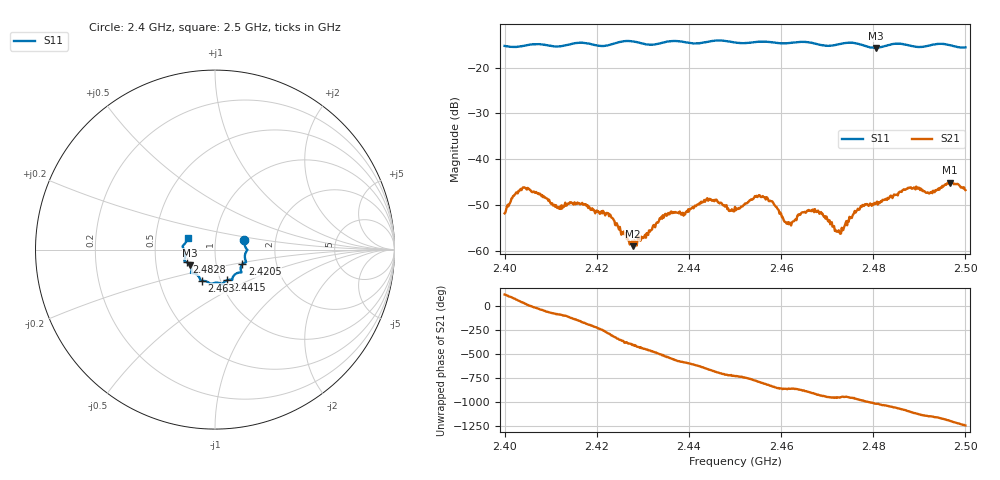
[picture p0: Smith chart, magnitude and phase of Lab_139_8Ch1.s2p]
# Hz S RI R 50
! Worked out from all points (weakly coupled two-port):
!   601 points, 2.4 GHz to 2.5 GHz, reference 50 ohm
!   highest |S21| = -45.06 dB at 2.4967 GHz (marker M1); lowest = -58.9 dB at 2.4278 GHz (marker M2)
!   lowest |S11| = -15.7 dB at 2.4805 GHz (marker M3), VSWR 1.39, Z = 37.3 - j6.7 ohm
!   |S11| at or under -10 dB: start of sweep to end of sweep
!   S12 and S22 are empty: the file has one direction only
!   S11 on the Smith chart (normalised r, x): 2.4 GHz: 1.38, +0.15; 2.4205 GHz: 1.34, -0.23; 2.4415 GHz: 1.07, -0.38; 2.463 GHz: 0.82, -0.29; 2.4828 GHz: 0.72, -0.10; 2.5 GHz: 0.73, +0.10
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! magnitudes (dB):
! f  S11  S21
! 2.4 GHz  -15.3  -51.8
! 2.404 GHz  -15.3  -46.1
! 2.4117 GHz  -15.4  -50.4
! 2.4167 GHz  -14.6  -49.7
! 2.4205 GHz  -15.3  -51.6
! 2.4227 GHz  -15.1  -52.4
! 2.4278 GHz  -14.3  -58.9
! 2.4333 GHz  -14.8  -53.8
! 2.4415 GHz  -14.8  -50.2
! 2.4443 GHz  -14.3  -48.8
! 2.45 GHz  -14.5  -50.4
! 2.4557 GHz  -14.3  -48.2
! 2.4612 GHz  -14.7  -54.0
! 2.463 GHz  -14.5  -53.2
! 2.4667 GHz  -14.6  -51.3
! 2.4725 GHz  -14.9  -55.5
! 2.4772 GHz  -14.9  -50.6
! 2.4805 GHz  -15.7  -49.7
! 2.4828 GHz  -15.2  -48.6
! 2.4833 GHz  -15.1  -48.6
! 2.4967 GHz  -15.1  -45.1
! 2.5 GHz  -15.6  -46.7
